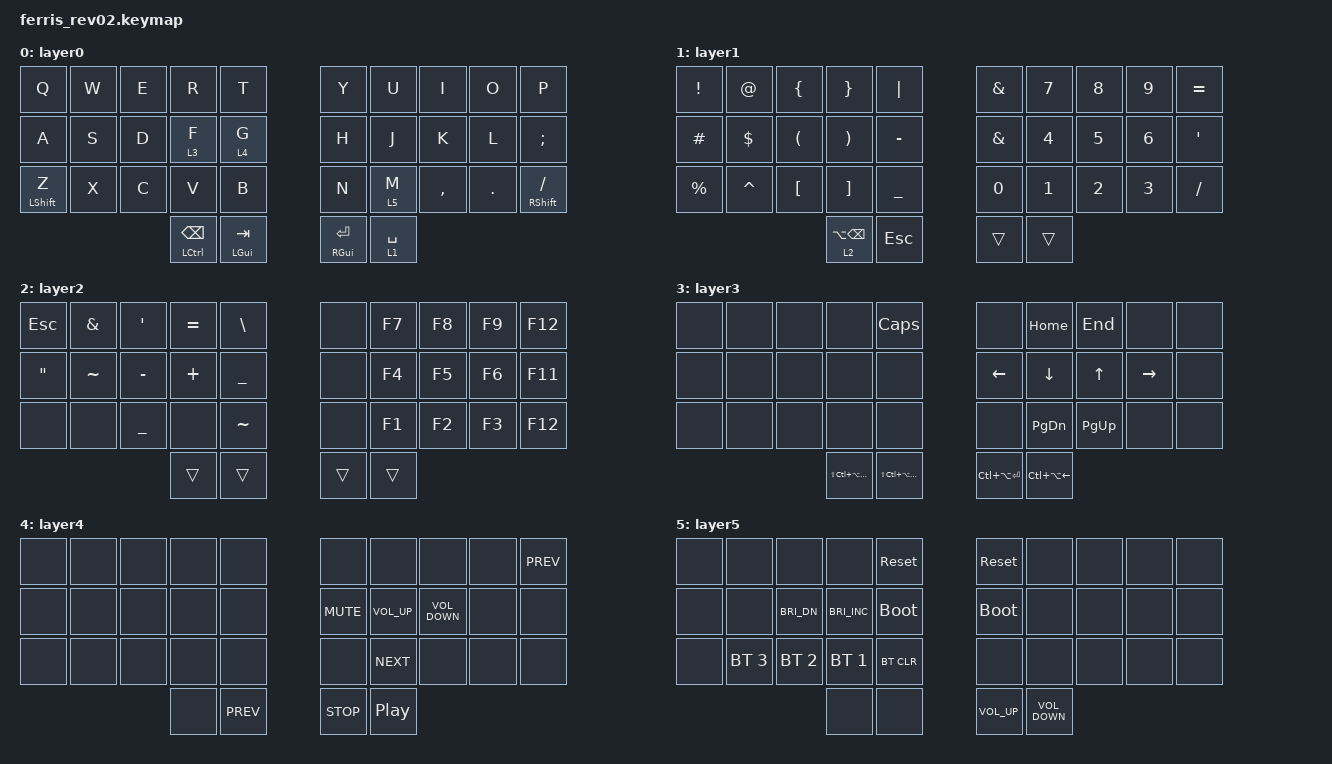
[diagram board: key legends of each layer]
/*
 * Copyright (c) 2020 The ZMK Contributors
 *
 * SPDX-License-Identifier: MIT
 */

#undef ZMK_BEHAVIORS_KEEP_ALL

#include <behaviors.dtsi>
#include <dt-bindings/zmk/keys.h>
#include <dt-bindings/zmk/bt.h>

#define L0 0
#define L1 1
#define L2 2
#define L3 3
#define L4 4
#define L5 5

#define TAPPING_TERM 200

/ {
    keymap {
        compatible = "zmk,keymap";

        // Layer 0
        layer0 {
            bindings = <
           &kp Q         &kp W  &kp E  &kp R  &kp T                &kp Y  &kp U     &kp I     &kp O    &kp P     
           &kp A         &kp S  &kp D  &lt L3 F  &lt L4 G          &kp H  &kp J     &kp K     &kp L    &kp SEMI  
           &mt LSHIFT Z  &kp X  &kp C  &kp V  &kp B                &kp N  &lt L5 M  &kp COMMA &kp DOT  &mt RSHIFT SLASH 
                  &mt LCTRL BSPC &mt LGUI TAB                        &mt RGUI ENTER  &lt L1 SPACE  
            >;
        };

        // Layer 1
        layer1 {
            bindings = <
                &kp EXCL  &kp AT   &kp LBRC  &kp RBRC  &kp PIPE            &kp AMPS  &kp N7  &kp N8  &kp N9  &kp EQUAL 
                &kp HASH  &kp DOLLAR  &kp LPAR  &kp RPAR  &kp MINUS           &kp AMPS  &kp N4  &kp N5  &kp N6  &kp SQT
                &kp PRCNT &kp CARET   &kp LBKT  &kp RBKT  &kp UNDER           &kp N0    &kp N1  &kp N2  &kp N3  &kp FSLH
                                   &lt L2 LA(BSPC)  &kp ESC                            &trans  &trans  
            >; 
        };

        // Layer 2
        layer2 {
            bindings = <
                &kp ESC  &kp AMPS  &kp APOS   &kp EQUAL &kp BSLH          &none  &kp F7  &kp F8  &kp F9  &kp F12  
                &kp DQT  &kp TILDE &kp MINUS  &kp PLUS  &kp UNDER         &none  &kp F4  &kp F5  &kp F6  &kp F11  
                &none    &none     &kp UNDER  &none     &kp TILDE         &none  &kp F1  &kp F2  &kp F3  &kp F12  
                                   &trans  &trans                                 &trans  &trans
            >;
        };

        // Layer 3
        layer3 {
            bindings = <
                &none  &none  &none  &none  &kp CAPS                       &none     &kp HOME   &kp END    &none      &none  
                &none  &none  &none  &none  &none                             &kp LEFT  &kp DOWN   &kp UP     &kp RIGHT  &none  
                &none  &none  &none  &none  &none                             &none     &kp PG_DN  &kp PG_UP  &none      &none  
                  &kp LS(LC(LA(LG(LEFT)))) &kp LS(LC(LA(LG(RIGHT))))                  &kp LC(LA(ENTER))  &kp LC(LA(LEFT))
            >;
        };

        // Layer 4
        layer4 {
            bindings = <
                &none  &none  &none  &none  &none             &none       &none            &none              &none      &kp C_PREV 
                &none  &none  &none  &none  &none             &kp C_MUTE  &kp C_VOLUME_UP  &kp C_VOLUME_DOWN  &none      &none       
                &none  &none  &none  &none  &none             &none       &kp C_NEXT       &none              &none      &none       
                        &none  &kp C_PREV                             &kp C_STOP  &kp C_PLAY_PAUSE
            >;
        };

        // Layer 5
        layer5 {
            bindings = <
                &none  &none  &none         &none          &sys_reset                  &sys_reset   &none  &none  &none  &none  
                &none  &none  &kp C_BRI_DN  &kp C_BRI_INC  &bootloader                 &bootloader  &none  &none  &none  &none  
                &none  &bt BT_SEL 3  &bt BT_SEL 2  &bt BT_SEL 1  &bt BT_CLR            &none        &none  &none  &none  &none  
                               &none  &none                                                   &kp C_VOLUME_UP &kp C_VOLUME_DOWN
            >;
        };
    };
};
